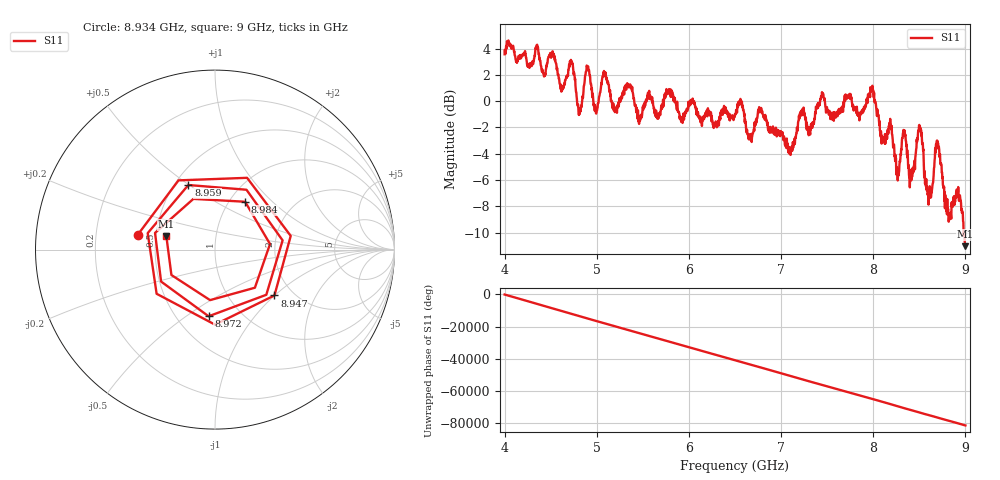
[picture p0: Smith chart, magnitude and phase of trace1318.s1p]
! Created with skrf 1.8.0 (http://scikit-rf.org).
# Hz S RI R 50.0
!freq ReS11 ImS11
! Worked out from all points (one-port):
!   1601 points, 4 GHz to 9 GHz, reference 50 ohm
!   lowest |S11| = -11.0 dB at 9 GHz (marker M1), VSWR 1.78, Z = 28.4 + j4.57 ohm
!   |S11| at or under -10 dB: 8.980282 GHz to end of sweep
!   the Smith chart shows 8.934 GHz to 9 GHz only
!   S11 on the Smith chart (normalised r, x): 8.934 GHz: 0.39, +0.08; 8.947 GHz: 1.61, -1.00; 8.959 GHz: 0.59, +0.50; 8.972 GHz: 0.71, -0.61; 8.984 GHz: 1.18, +0.70; 9 GHz: 0.57, +0.09
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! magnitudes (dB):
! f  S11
! 4 GHz  3.6
! 4.516 GHz  3.7
! 4.625 GHz  0.8
! 4.719 GHz  3.1
! 4.812 GHz  -1.0
! 4.9 GHz  2.6
! 4.988 GHz  -0.7
! 5.084 GHz  2.2
! 5.25 GHz  0.1
! 5.875 GHz  -0.4
! 6.5 GHz  -1.0
! 7.125 GHz  -3.6
! 7.228 GHz  -0.6
! 7.75 GHz  0.2
! 7.984 GHz  0.9
! 8.256 GHz  -5.0
! 8.334 GHz  -2.4
! 8.375 GHz  -4.1
! 8.503 GHz  -1.9
! 8.603 GHz  -6.8
! 8.697 GHz  -3.0
! 8.812 GHz  -8.2
! 8.934 GHz  -7.2
! 8.947 GHz  -7.6
! 8.959 GHz  -8.2
! 8.972 GHz  -8.6
! 8.984 GHz  -10.0
! 9 GHz  -11.0
